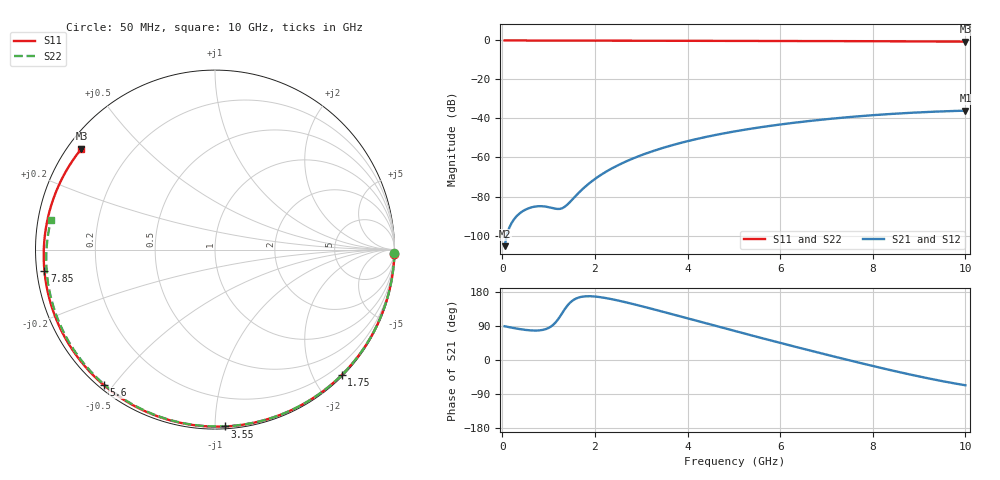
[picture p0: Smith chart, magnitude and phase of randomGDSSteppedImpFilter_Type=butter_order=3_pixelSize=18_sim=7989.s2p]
! freq	dB(S11)	phase(S11)	dB(S12)	phase(S12)
!  dB(S21)	phase(S21)	dB(S22)	phase(S22)
!S-par simulation data
#  GHz  S  DB  R 50
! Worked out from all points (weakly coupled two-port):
!   200 points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, 50 MHz to 10 GHz, reference 50 ohm
!   highest |S21| = -35.99 dB at 10 GHz (marker M1); lowest = -105.5 dB at 50 MHz (marker M2)
!   lowest |S11| = -0.6 dB at 10 GHz (marker M3), VSWR 28.74, Z = 1.93 + j16.7 ohm
!   |S11| at or under -10 dB: nowhere
!   |S22| runs from -0.6 to 0.0 dB; largest |S21 - S12| = 0
!   S11 on the Smith chart (normalised r, x): 50 MHz: 0, -87; 1.75 GHz: 0.02, -2.43; 3.55 GHz: 0.01, -1.06; 5.6 GHz: 0.01, -0.47; 7.85 GHz: 0.02, -0.06; 10 GHz: 0.04, +0.33
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0.05  -0.00 -1.3  -105.46 89.0  -105.46 89.0  -0.00 -1.1
0.4  -0.01 -10.5  -88.19 81.2  -88.19 81.2  -0.01 -8.9
0.75  -0.03 -19.5  -85.03 77.8  -85.03 77.8  -0.02 -16.5
1.15  -0.04 -29.8  -86.27 99.0  -86.27 99.0  -0.03 -25.2
1.55  -0.05 -39.8  -80.58 159.5  -80.58 159.5  -0.04 -33.8
1.6  -0.05 -41.1  -79.32 162.6  -79.32 162.6  -0.04 -34.9
1.75  -0.06 -44.8  -75.83 167.5  -75.83 167.5  -0.05 -38.1
2.05  -0.07 -52.2  -70.18 166.8  -70.18 166.8  -0.06 -44.4
2.45  -0.08 -61.7  -64.55 158.3  -64.55 158.3  -0.07 -52.7
2.9  -0.09 -72.2  -59.75 145.4  -59.75 145.4  -0.08 -61.8
3.4  -0.11 -83.6  -55.58 129.6  -55.58 129.6  -0.09 -71.7
3.55  -0.11 -86.9  -54.51 124.7  -54.51 124.7  -0.10 -74.6
4.25  -0.14 -102.0  -50.24 101.7  -50.24 101.7  -0.12 -88.0
5.05  -0.18 -118.4  -46.49 75.6  -46.49 75.6  -0.16 -102.6
5.6  -0.21 -129.4  -44.41 57.9  -44.41 57.9  -0.18 -112.4
6.15  -0.24 -140.1  -42.63 40.5  -42.63 40.5  -0.22 -121.9
6.7  -0.28 -150.8  -41.11 23.3  -41.11 23.3  -0.25 -131.4
7.3  -0.33 -162.3  -39.68 5.0  -39.68 5.0  -0.30 -141.6
7.85  -0.38 -173.0  -38.58 -11.4  -38.58 -11.4  -0.35 -151.0
8.35  -0.42 177.2  -37.74 -25.8  -37.74 -25.8  -0.40 -159.7
9.2  -0.51 160.0  -36.65 -48.5  -36.65 -48.5  -0.51 -174.9
10  -0.60 142.9  -35.99 -66.7  -35.99 -66.7  -0.65 169.8
